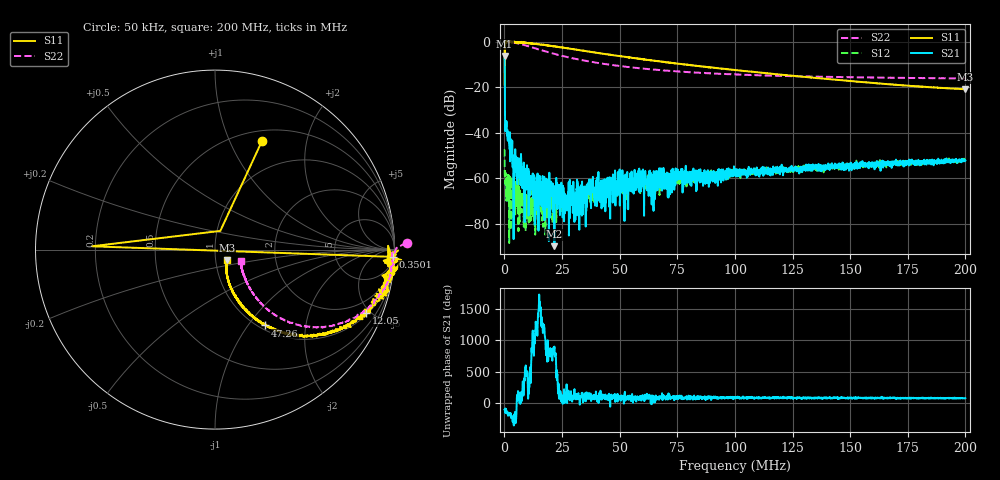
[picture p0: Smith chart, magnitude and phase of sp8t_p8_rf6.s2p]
! 26-Feb-26 1:14:30 PM
! E:\VNA_MEASUREMENTS\SP8T\SP8T_P8_RF6.S2P
! CHANNEL.1
! TR.MEASUREMENT
! CORRECTED.DATA
# GHZ S RI R 50.0
! FREQ.GHZ  S11RE  S11IM  S21RE  S21IM  S12RE  S12IM  S22RE  S22IM
!; PortSelection: Port_12
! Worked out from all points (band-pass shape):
!   2000 points, 50 kHz to 200 MHz, reference 50 ohm
!   highest |S21| = -6.24 dB at 50 kHz (marker M1); lowest = -90.0 dB at 21.66 MHz (marker M2)
!   |S21| within 3 dB of the highest: start of sweep to 88 kHz
!   lowest |S11| = -21.0 dB at 200 MHz (marker M3), VSWR 1.20, Z = 56.8 - j6.8 ohm
!   |S11| at or under -10 dB: 77.73582 MHz to 77.88917 MHz (153.3 kHz wide, 0.197 % of centre); 78.0277 MHz to 78.183 MHz (155.3 kHz wide, 0.199 % of centre); 78.5 MHz to end of sweep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
!   |S22| runs from -16.2 to 0.6 dB; largest |S21 - S12| = 0.49
!   S11 on the Smith chart (normalised r, x): 50 kHz: 0.62, +1.33; 350.1 kHz: 11, -46; 12.05 MHz: 1.11, -4.69; 47.26 MHz: 1.07, -1.21; 200 MHz: 1.14, -0.14
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5e-05  0.2621 0.6059  -0.1295 -0.4701  -0.00326 0.00278  1.067 0.0392
0.000350075  0.99 -0.0406  0.000466 -0.0108  -0.00117 0.000339  0.9983 -0.0275
0.0012503  0.9644 0.0212  -0.0108 -0.00393  0.000124 0.000291  0.9961 -0.0826
0.004551126  0.9822 -0.1662  -0.00115 -0.00085  0.000384 0.000507  0.912 -0.2562
0.012053  0.8406 -0.355  -0.000252 -0.000492  -9.87e-05 0.000149  0.6151 -0.4296
0.01395348  0.7992 -0.3743  -0.00105 -0.000121  -1.3e-06 0.000162  0.5519 -0.4323
0.01705425  0.7413 -0.4254  -0.000228 0.000606  -0.000121 8.16e-05  0.4658 -0.4196
0.0216554  0.6441 -0.4652  -3.18e-05 -1e-07  7.89e-05 0.000391  0.3771 -0.3873
0.02675668  0.5441 -0.4809  -0.000147 0.000169  -6.73e-05 0.000347  0.3113 -0.3483
0.02905725  0.5055 -0.4838  -4.09e-05 0.000475  1.97e-05 0.000363  0.29 -0.3304
0.03345835  0.4304 -0.4742  -0.000191 0.000538  -1.65e-05 0.000472  0.2572 -0.3001
0.03735933  0.3811 -0.4641  -0.000285 0.000166  -7e-07 0.000311  0.2364 -0.2765
0.04306075  0.3187 -0.4399  -0.000127 0.00048  -0.000161 0.000422  0.2134 -0.2467
0.04726181  0.2808 -0.4224  0.000144 0.000737  4.85e-05 0.000597  0.2018 -0.2289
0.05066266  0.2547 -0.4047  -0.000209 0.000625  0.000245 0.000785  0.1938 -0.2155
0.05136283  0.2493 -0.4023  0.000338 0.000686  -4.79e-05 0.000551  0.1925 -0.213
0.05946486  0.2023 -0.3641  0.000642 0.000858  7.43e-05 0.00094  0.1789 -0.1872
0.06676668  0.1682 -0.3324  0.000285 0.000865  0.000223 0.000916  0.1714 -0.1682
0.100075  0.0922 -0.2213  0.000446 0.00128  0.000109 0.00133  0.1522 -0.1162
0.1333833  0.0678 -0.1481  0.000359 0.0015  0.000325 0.00156  0.1464 -0.09
0.1666917  0.0631 -0.0977  0.000517 0.00223  0.000378 0.00205  0.1444 -0.0742
0.2  0.0671 -0.0595  0.00056 0.00237  0.000734 0.00241  0.1422 -0.0622
